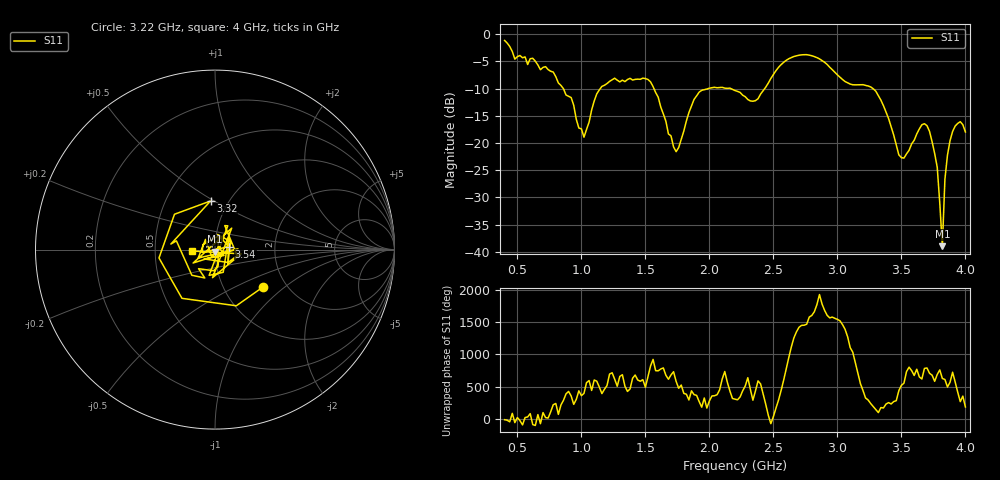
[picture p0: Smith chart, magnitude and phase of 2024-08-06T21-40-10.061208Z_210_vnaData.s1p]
!Created with skrf (http://scikit-rf.org).
# Hz S RI R 50.0
!freq ReS11 ImS11
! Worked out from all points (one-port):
!   181 points, 400 MHz to 4 GHz, reference 50 ohm
!   lowest |S11| = -39.0 dB at 3.82 GHz (marker M1), VSWR 1.02, Z = 49.9 - j1.12 ohm
!   |S11| at or under -10 dB: 859.4 MHz to 1.147 GHz (287.6 MHz wide, 28.7 % of centre); 1.567 GHz to 1.989 GHz (422.6 MHz wide, 23.8 % of centre); 3.279 GHz to end of sweep (the widest 3 of 4)
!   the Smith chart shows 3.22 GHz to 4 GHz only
!   S11 on the Smith chart (normalised r, x): 3.22 GHz: 1.52, -0.72; 3.32 GHz: 0.82, +0.48; 3.54 GHz: 1.17, +0.04; 4 GHz: 0.78, -0.01
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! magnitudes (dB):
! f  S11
! 400 MHz  -1.1
! 480 MHz  -4.6
! 620 MHz  -4.4
! 860 MHz  -10.0
! 1.02 GHz  -18.9
! 1.12 GHz  -11.0
! 1.3 GHz  -8.8
! 1.54 GHz  -8.7
! 1.72 GHz  -20.7
! 1.76 GHz  -20.8
! 1.92 GHz  -10.6
! 2.2 GHz  -10.4
! 2.36 GHz  -12.2
! 2.66 GHz  -4.1
! 3.1 GHz  -9.2
! 3.22 GHz  -9.4
! 3.32 GHz  -11.3
! 3.48 GHz  -22.2
! 3.54 GHz  -22.0
! 3.56 GHz  -21.3
! 3.66 GHz  -16.6
! 3.72 GHz  -17.9
! 3.78 GHz  -24.5
! 3.82 GHz  -39.0
! 3.84 GHz  -26.7
! 3.88 GHz  -19.6
! 3.96 GHz  -16.1
! 4 GHz  -18.0
